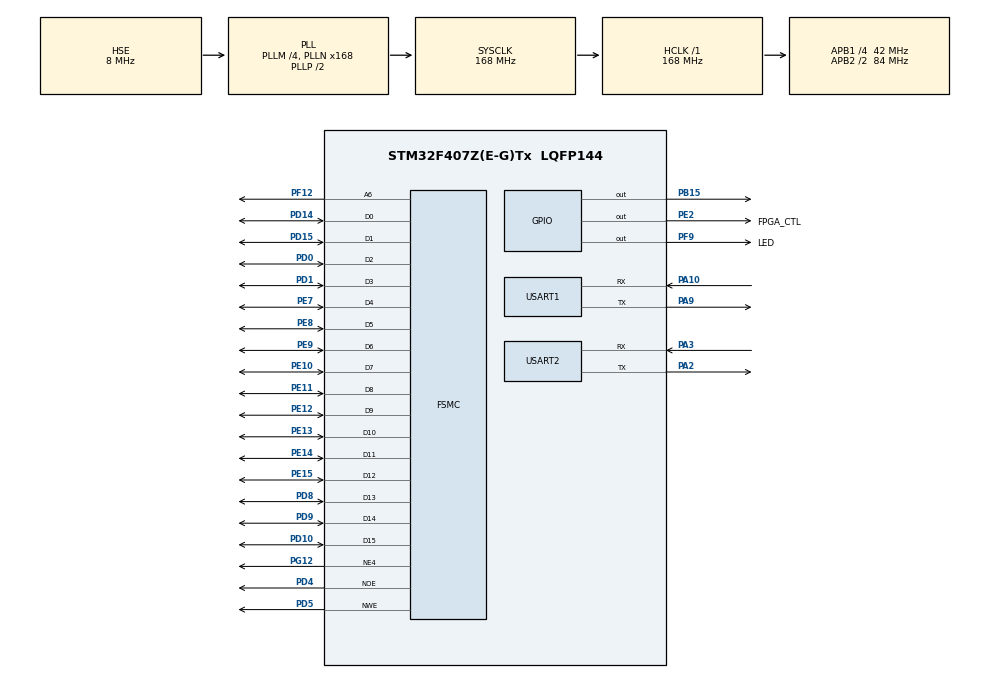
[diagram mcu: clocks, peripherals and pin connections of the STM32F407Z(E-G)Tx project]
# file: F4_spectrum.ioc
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Dma.Request0=USART2_RX
Dma.USART2_RX.0.Direction=DMA_PERIPH_TO_MEMORY
Dma.USART2_RX.0.FIFOMode=DMA_FIFOMODE_DISABLE
Dma.USART2_RX.0.Instance=DMA1_Stream5
Dma.USART2_RX.0.MemDataAlignment=DMA_MDATAALIGN_BYTE
Dma.USART2_RX.0.MemInc=DMA_MINC_ENABLE
Dma.USART2_RX.0.Mode=DMA_NORMAL
Dma.USART2_RX.0.PeriphDataAlignment=DMA_PDATAALIGN_BYTE
Dma.USART2_RX.0.PeriphInc=DMA_PINC_DISABLE
Dma.USART2_RX.0.Priority=DMA_PRIORITY_LOW
FSMC.ExtendedMode1=FSMC_EXTENDED_MODE_ENABLE
Mcu.Family=STM32F4
Mcu.Name=STM32F407Z(E-G)Tx
Mcu.Package=LQFP144
NVIC.DMA1_Stream5_IRQn=true\:0\:0\:false\:false\:true\:false\:true\:true
NVIC.PriorityGroup=NVIC_PRIORITYGROUP_4
NVIC.USART2_IRQn=true\:0\:0\:false\:false\:true\:true\:true\:true
PA10.Mode=Asynchronous
PA10.Signal=USART1_RX
PA2.Mode=Asynchronous
PA2.Signal=USART2_TX
PA3.Mode=Asynchronous
PA3.Signal=USART2_RX
PA9.Mode=Asynchronous
PA9.Signal=USART1_TX
PB15.Signal=GPIO_Output
PD0.Signal=FSMC_D2_DA2
PD1.Signal=FSMC_D3_DA3
PD10.Signal=FSMC_D15_DA15
PD14.Signal=FSMC_D0_DA0
PD15.Signal=FSMC_D1_DA1
PD4.Signal=FSMC_NOE
PD5.Signal=FSMC_NWE
PD8.Signal=FSMC_D13_DA13
PD9.Signal=FSMC_D14_DA14
PE10.Signal=FSMC_D7_DA7
PE11.Signal=FSMC_D8_DA8
PE12.Signal=FSMC_D9_DA9
PE13.Signal=FSMC_D10_DA10
PE14.Signal=FSMC_D11_DA11
PE15.Signal=FSMC_D12_DA12
PE2.GPIO_Label=FPGA_CTL
PE2.GPIO_PuPd=GPIO_PULLUP
PE2.GPIO_Speed=GPIO_SPEED_FREQ_VERY_HIGH
PE2.PinState=GPIO_PIN_SET
PE2.Signal=GPIO_Output
PE7.Signal=FSMC_D4_DA4
PE8.Signal=FSMC_D5_DA5
PE9.Signal=FSMC_D6_DA6
PF12.Signal=FSMC_A6
PF9.GPIO_Label=LED
PF9.PinState=GPIO_PIN_SET
PF9.Signal=GPIO_Output
PG12.Mode=NorPsramChipSelect4_1
PG12.Signal=FSMC_NE4
PH0-OSC_IN.Mode=HSE-External-Oscillator
PH0-OSC_IN.Signal=RCC_OSC_IN
PH1-OSC_OUT.Mode=HSE-External-Oscillator
PH1-OSC_OUT.Signal=RCC_OSC_OUT
ProjectManager.HeapSize=0x200
ProjectManager.StackSize=0x400
ProjectManager.TargetToolchain=MDK-ARM V5.32
RCC.48MHZClocksFreq_Value=84000000
RCC.AHBFreq_Value=168000000
RCC.APB1CLKDivider=RCC_HCLK_DIV4
RCC.APB1Freq_Value=42000000
RCC.APB1TimFreq_Value=84000000
RCC.APB2CLKDivider=RCC_HCLK_DIV2
RCC.APB2Freq_Value=84000000
RCC.APB2TimFreq_Value=168000000
RCC.CortexFreq_Value=168000000
RCC.HCLKFreq_Value=168000000
RCC.HSE_VALUE=8000000
RCC.HSI_VALUE=16000000
RCC.LSE_VALUE=32768
RCC.PLLM=4
RCC.PLLN=168
RCC.PLLSourceVirtual=RCC_PLLSOURCE_HSE
RCC.SYSCLKFreq_VALUE=168000000
RCC.SYSCLKSource=RCC_SYSCLKSOURCE_PLLCLK
RCC.VCOOutputFreq_Value=336000000
SH.FSMC_A6.0=FSMC_A6,A6_1
SH.FSMC_D0_DA0.0=FSMC_D0,16b-d1
SH.FSMC_D10_DA10.0=FSMC_D10,16b-d1
SH.FSMC_D11_DA11.0=FSMC_D11,16b-d1
SH.FSMC_D12_DA12.0=FSMC_D12,16b-d1
SH.FSMC_D13_DA13.0=FSMC_D13,16b-d1
SH.FSMC_D14_DA14.0=FSMC_D14,16b-d1
SH.FSMC_D15_DA15.0=FSMC_D15,16b-d1
SH.FSMC_D1_DA1.0=FSMC_D1,16b-d1
SH.FSMC_D2_DA2.0=FSMC_D2,16b-d1
SH.FSMC_D3_DA3.0=FSMC_D3,16b-d1
SH.FSMC_D4_DA4.0=FSMC_D4,16b-d1
SH.FSMC_D5_DA5.0=FSMC_D5,16b-d1
SH.FSMC_D6_DA6.0=FSMC_D6,16b-d1
SH.FSMC_D7_DA7.0=FSMC_D7,16b-d1
SH.FSMC_D8_DA8.0=FSMC_D8,16b-d1
SH.FSMC_D9_DA9.0=FSMC_D9,16b-d1
SH.FSMC_NOE.0=FSMC_NOE,Lcd1
SH.FSMC_NWE.0=FSMC_NWE,Lcd1
USART1.VirtualMode=VM_ASYNC
USART2.VirtualMode=VM_ASYNC
board=custom

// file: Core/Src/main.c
/* USER CODE BEGIN Header */
/**
  ******************************************************************************
  * @file           : main.c
  * @brief          : Main program body
  ******************************************************************************
  * @attention
  *
  * Copyright (c) 2023 STMicroelectronics.
  * All rights reserved.
  *
  * This software is licensed under terms that can be found in the LICENSE file
  * in the root directory of this software component.
  * If no LICENSE file comes with this software, it is provided AS-IS.
  *
  ******************************************************************************
  */
/* USER CODE END Header */
#include "main.h"
#include "dma.h"
#include "usart.h"
#include "gpio.h"
#include "fsmc.h"

/* USER CODE BEGIN Includes */
#include "stdio.h"
#include "sys.h"//???????
#include "delay.h"
#include "lcd.h"//??

#include "arm_math.h"
#include "arm_const_structs.h"
/* USER CODE END Includes */

/* USER CODE BEGIN PTD */
int fputc(int ch, FILE *f)
{
	while((USART1->SR&0X40)==0);
	USART1->DR = (uint8_t) ch;
	return ch;
}
/* USER CODE END PTD */

/* USER CODE BEGIN PD */
#define width	800
//#define high	480	//4.3寸
#define high	400	//4.3寸
#define TEST_LENGTH_SAMPLES 4096
/* USER CODE END PD */

/* USER CODE BEGIN PM */
uint8_t fpga_get[2048]={0};

float32_t testInput[TEST_LENGTH_SAMPLES];
static float32_t testOutput[TEST_LENGTH_SAMPLES/2];

uint32_t fftSize = 2048;
uint32_t ifftFlag = 0;
uint32_t doBitReverse = 1;
/* USER CODE END PM */

void SystemClock_Config(void);

/* USER CODE BEGIN 0 */
uint8_t flag = 0;
void HAL_UART_RxCpltCallback(UART_HandleTypeDef *huart)
{
	if(huart->Instance == USART2)
	{
		flag = 1;
	}
}
/* USER CODE END 0 */

int main(void)
{

  /* MCU Configuration--------------------------------------------------------*/

  /* Reset of all peripherals, Initializes the Flash interface and the Systick. */
  HAL_Init();

  /* Configure the system clock */
  SystemClock_Config();

  /* Initialize all configured peripherals */
  MX_GPIO_Init();
  MX_DMA_Init();
  MX_FSMC_Init();
  MX_USART1_UART_Init();
  MX_USART2_UART_Init();
  /* USER CODE BEGIN 2 */
	lcd_init();//??
	lcd_clear(WHITE);
	HAL_Delay(500);
	lcd_display_dir(1);
	HAL_UART_Receive_DMA(&huart2,fpga_get,2048);
  /* USER CODE END 2 */

  /* Infinite loop */
  /* USER CODE BEGIN WHILE */

	char* temp1[20] = {"1M"};
	lcd_show_string (width*0/12,440,60,32,32,*temp1,RED);
	*temp1 = "10M";
	lcd_show_string (width*1/12-15,440,60,32,32,*temp1,RED);
	*temp1 = "20M";
	lcd_show_string (width*2/12-15,440,60,32,32,*temp1,RED);
	*temp1 = "30M";
	lcd_show_string (width*3/12-15,440,60,32,32,*temp1,RED);
	*temp1 = "40M";
	lcd_show_string (width*4/12-15,440,60,32,32,*temp1,RED);
	*temp1 = "50M";
	lcd_show_string (width*5/12-15,440,60,32,32,*temp1,RED);
	*temp1 = "60M";
	lcd_show_string (width*6/12-15,440,60,32,32,*temp1,RED);
	*temp1 = "70M";
	lcd_show_string (width*7/12-15,440,60,32,32,*temp1,RED);
	*temp1 = "80M";
	lcd_show_string (width*8/12-15,440,60,32,32,*temp1,RED);
	*temp1 = "90M";
	lcd_show_string (width*9/12-15,440,60,32,32,*temp1,RED);
	*temp1 = "100M";
	lcd_show_string (width*10/12-15,440,60,32,32,*temp1,RED);
	*temp1 = "110M";
	lcd_show_string (width*11/12-15,440,60,32,32,*temp1,RED);
	*temp1 = "120M";
	lcd_show_string (width*12/12-30,440,60,32,32,*temp1,RED);

  while (1)
  {
		if(flag)
		{
//			for(int i=0; i<2048;i++)
//			{
//				printf("%d\r\n",fpga_get[i]);
//			}
//			HAL_GPIO_WritePin(FPGA_CTL_GPIO_Port,FPGA_CTL_Pin,GPIO_PIN_RESET);
			for(int i=0; i<1024;i++)
			{
				lcd_draw_line (i/1.28,high,i/1.28,high-testOutput[i]/2*480,WHITE);
			}

			for(int i = 0; i < 2048; i++)
			{
				//将偶数定义为实部，将奇数定义为虚部
					testInput[i * 2] = fpga_get[i] * 2 / 256;//实部赋值，* 3.3 / 4096是为了将ADC采集到的值转换成实际电压
					testInput[i * 2 + 1] = 0;//虚部赋值，固定为0
			}

			/* Process the data through the CFFT/CIFFT module */
			arm_cfft_f32(&arm_cfft_sR_f32_len2048, testInput , ifftFlag, doBitReverse);

			/* Process the data through the Complex Magnitude Module for
			calculating the magnitude at each bin */
			arm_cmplx_mag_f32(testInput, testOutput, fftSize);

			testOutput[0] /= 2048;

			for (int i = 1; i < 1024; i++)//输出各次谐波幅值
			{
					testOutput[i] /= 1024;
			}

			for(int i=0; i<1024;i++)
			{
//				printf("%f\r\n",testOutput[i]);
				if(i==0)
					lcd_draw_line (3,high,3,high-testOutput[0]/2*480,RED);
				lcd_draw_line (i/1.28,high,i/1.28,high-testOutput[i]/2*480,RED);
			}

			HAL_UART_Receive_DMA(&huart2,fpga_get,2048);
			flag = 0;
		}
    /* USER CODE END WHILE */

  }
}

void SystemClock_Config(void)
{
  RCC_OscInitTypeDef RCC_OscInitStruct = {0};
  RCC_ClkInitTypeDef RCC_ClkInitStruct = {0};

  /** Configure the main internal regulator output voltage
  */
  __HAL_RCC_PWR_CLK_ENABLE();
  __HAL_PWR_VOLTAGESCALING_CONFIG(PWR_REGULATOR_VOLTAGE_SCALE1);

  /** Initializes the RCC Oscillators according to the specified parameters
  * in the RCC_OscInitTypeDef structure.
  */
  RCC_OscInitStruct.OscillatorType = RCC_OSCILLATORTYPE_HSE;
  RCC_OscInitStruct.HSEState = RCC_HSE_ON;
  RCC_OscInitStruct.PLL.PLLState = RCC_PLL_ON;
  RCC_OscInitStruct.PLL.PLLSource = RCC_PLLSOURCE_HSE;
  RCC_OscInitStruct.PLL.PLLM = 4;
  RCC_OscInitStruct.PLL.PLLN = 168;
  RCC_OscInitStruct.PLL.PLLP = RCC_PLLP_DIV2;
  RCC_OscInitStruct.PLL.PLLQ = 4;
  if (HAL_RCC_OscConfig(&RCC_OscInitStruct) != HAL_OK)
  {
    Error_Handler();
  }

  /** Initializes the CPU, AHB and APB buses clocks
  */
  RCC_ClkInitStruct.ClockType = RCC_CLOCKTYPE_HCLK|RCC_CLOCKTYPE_SYSCLK
                              |RCC_CLOCKTYPE_PCLK1|RCC_CLOCKTYPE_PCLK2;
  RCC_ClkInitStruct.SYSCLKSource = RCC_SYSCLKSOURCE_PLLCLK;
  RCC_ClkInitStruct.AHBCLKDivider = RCC_SYSCLK_DIV1;
  RCC_ClkInitStruct.APB1CLKDivider = RCC_HCLK_DIV4;
  RCC_ClkInitStruct.APB2CLKDivider = RCC_HCLK_DIV2;

  if (HAL_RCC_ClockConfig(&RCC_ClkInitStruct, FLASH_LATENCY_5) != HAL_OK)
  {
    Error_Handler();
  }
}

void Error_Handler(void)
{
  __disable_irq();
  while (1)
  {
  }
}
